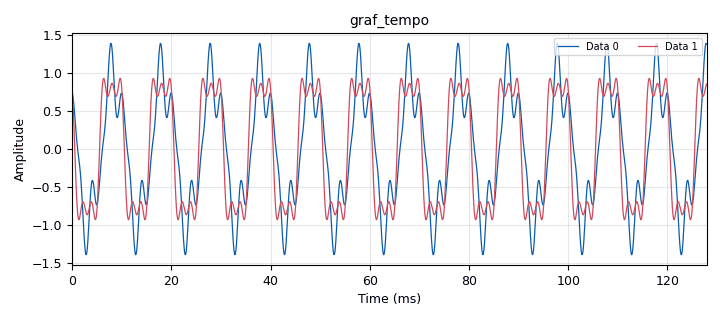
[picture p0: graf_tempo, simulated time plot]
<?xml version='1.0' encoding='utf-8'?>
<?grc format='1' created='3.7.13'?>
<flow_graph>
<block>
<key>options</key>
<param><key>id</key><value>Labo1_3</value></param>
<param><key>author</key><value>Leocarlos Bezerra da Silva Lima</value></param>
<param><key>category</key><value>Custom</value></param>
<param><key>description</key><value>Experimento para Laboratório de Princípios de Comunicações. Departamento de Engenharia Elétrica - DEE da Universidade Federal de Campina Grande - UFCG.</value></param>
<param><key>generate_options</key><value>qt_gui</value></param>
<param><key>title</key><value>Analise de distorcao de canal</value></param>
</block>
<block>
<key>variable</key>
<param><key>id</key><value>atenuacao</value></param>
<param><key>value</key><value>1</value></param>
</block>
<block>
<key>variable</key>
<param><key>id</key><value>atraso</value></param>
<param><key>value</key><value>3</value></param>
</block>
<block>
<key>variable</key>
<param><key>id</key><value>samp_rate</value></param>
<param><key>value</key><value>8000</value></param>
</block>
<block>
<key>blocks_delay</key>
<param><key>id</key><value>blocks_delay_0</value></param>
<param><key>delay</key><value>atraso</value></param>
<param><key>type</key><value>float</value></param>
</block>
<block>
<key>blocks_delay</key>
<param><key>id</key><value>blocks_delay_0_0</value></param>
<param><key>delay</key><value>atraso*3</value></param>
<param><key>type</key><value>float</value></param>
</block>
<block>
<key>blocks_delay</key>
<param><key>id</key><value>blocks_delay_0_1</value></param>
<param><key>delay</key><value>atraso*5</value></param>
<param><key>type</key><value>float</value></param>
</block>
<block>
<key>blocks_multiply_const_vxx</key>
<param><key>id</key><value>blocks_multiply_const_vxx_0</value></param>
<param><key>const</key><value>atenuacao</value></param>
<param><key>type</key><value>float</value></param>
</block>
<block>
<key>blocks_multiply_const_vxx</key>
<param><key>id</key><value>blocks_multiply_const_vxx_0_0</value></param>
<param><key>const</key><value>atenuacao</value></param>
<param><key>type</key><value>float</value></param>
</block>
<block>
<key>blocks_multiply_const_vxx</key>
<param><key>id</key><value>blocks_multiply_const_vxx_0_1</value></param>
<param><key>const</key><value>atenuacao</value></param>
<param><key>type</key><value>float</value></param>
</block>
<block>
<key>blocks_throttle</key>
<param><key>id</key><value>blocks_throttle_0</value></param>
<param><key>samples_per_second</key><value>samp_rate</value></param>
<param><key>type</key><value>float</value></param>
</block>
<block>
<key>analog_sig_source_x</key>
<param><key>id</key><value>fundamental</value></param>
<param><key>amp</key><value>1</value></param>
<param><key>freq</key><value>100</value></param>
<param><key>offset</key><value>0</value></param>
<param><key>type</key><value>float</value></param>
<param><key>samp_rate</key><value>samp_rate</value></param>
<param><key>waveform</key><value>analog.GR_COS_WAVE</value></param>
</block>
<block>
<key>qtgui_time_sink_x</key>
<param><key>id</key><value>graf_tempo</value></param>
<param><key>autoscale</key><value>True</value></param>
<param><key>grid</key><value>True</value></param>
<param><key>color1</key><value>"blue"</value></param>
<param><key>label1</key><value></value></param>
<param><key>color2</key><value>"red"</value></param>
<param><key>label2</key><value></value></param>
<param><key>nconnections</key><value>2</value></param>
<param><key>size</key><value>1024</value></param>
<param><key>srate</key><value>samp_rate</value></param>
<param><key>type</key><value>float</value></param>
</block>
<block>
<key>analog_sig_source_x</key>
<param><key>id</key><value>harmonica_1</value></param>
<param><key>amp</key><value>-0.333</value></param>
<param><key>freq</key><value>300</value></param>
<param><key>offset</key><value>0</value></param>
<param><key>type</key><value>float</value></param>
<param><key>samp_rate</key><value>samp_rate</value></param>
<param><key>waveform</key><value>analog.GR_COS_WAVE</value></param>
</block>
<block>
<key>analog_sig_source_x</key>
<param><key>id</key><value>harmonica_2</value></param>
<param><key>amp</key><value>0.2</value></param>
<param><key>freq</key><value>500</value></param>
<param><key>offset</key><value>0</value></param>
<param><key>type</key><value>float</value></param>
<param><key>samp_rate</key><value>samp_rate</value></param>
<param><key>waveform</key><value>analog.GR_COS_WAVE</value></param>
</block>
<block>
<key>blocks_add_xx</key>
<param><key>id</key><value>somador</value></param>
<param><key>type</key><value>float</value></param>
<param><key>num_inputs</key><value>3</value></param>
</block>
<block>
<key>blocks_add_xx</key>
<param><key>id</key><value>somador_0</value></param>
<param><key>type</key><value>float</value></param>
<param><key>num_inputs</key><value>3</value></param>
</block>
<connection><source_block_id>blocks_delay_0</source_block_id><sink_block_id>somador</sink_block_id><source_key>0</source_key><sink_key>0</sink_key></connection>
<connection><source_block_id>blocks_delay_0_0</source_block_id><sink_block_id>somador</sink_block_id><source_key>0</source_key><sink_key>1</sink_key></connection>
<connection><source_block_id>blocks_delay_0_1</source_block_id><sink_block_id>somador</sink_block_id><source_key>0</source_key><sink_key>2</sink_key></connection>
<connection><source_block_id>blocks_multiply_const_vxx_0</source_block_id><sink_block_id>blocks_delay_0</sink_block_id><source_key>0</source_key><sink_key>0</sink_key></connection>
<connection><source_block_id>blocks_multiply_const_vxx_0_0</source_block_id><sink_block_id>blocks_delay_0_0</sink_block_id><source_key>0</source_key><sink_key>0</sink_key></connection>
<connection><source_block_id>blocks_multiply_const_vxx_0_1</source_block_id><sink_block_id>blocks_delay_0_1</sink_block_id><source_key>0</source_key><sink_key>0</sink_key></connection>
<connection><source_block_id>blocks_throttle_0</source_block_id><sink_block_id>blocks_multiply_const_vxx_0</sink_block_id><source_key>0</source_key><sink_key>0</sink_key></connection>
<connection><source_block_id>blocks_throttle_0</source_block_id><sink_block_id>somador_0</sink_block_id><source_key>0</source_key><sink_key>0</sink_key></connection>
<connection><source_block_id>fundamental</source_block_id><sink_block_id>blocks_throttle_0</sink_block_id><source_key>0</source_key><sink_key>0</sink_key></connection>
<connection><source_block_id>harmonica_1</source_block_id><sink_block_id>blocks_multiply_const_vxx_0_0</sink_block_id><source_key>0</source_key><sink_key>0</sink_key></connection>
<connection><source_block_id>harmonica_1</source_block_id><sink_block_id>somador_0</sink_block_id><source_key>0</source_key><sink_key>1</sink_key></connection>
<connection><source_block_id>harmonica_2</source_block_id><sink_block_id>blocks_multiply_const_vxx_0_1</sink_block_id><source_key>0</source_key><sink_key>0</sink_key></connection>
<connection><source_block_id>harmonica_2</source_block_id><sink_block_id>somador_0</sink_block_id><source_key>0</source_key><sink_key>2</sink_key></connection>
<connection><source_block_id>somador</source_block_id><sink_block_id>graf_tempo</sink_block_id><source_key>0</source_key><sink_key>0</sink_key></connection>
<connection><source_block_id>somador_0</source_block_id><sink_block_id>graf_tempo</sink_block_id><source_key>0</source_key><sink_key>1</sink_key></connection>
</flow_graph>
